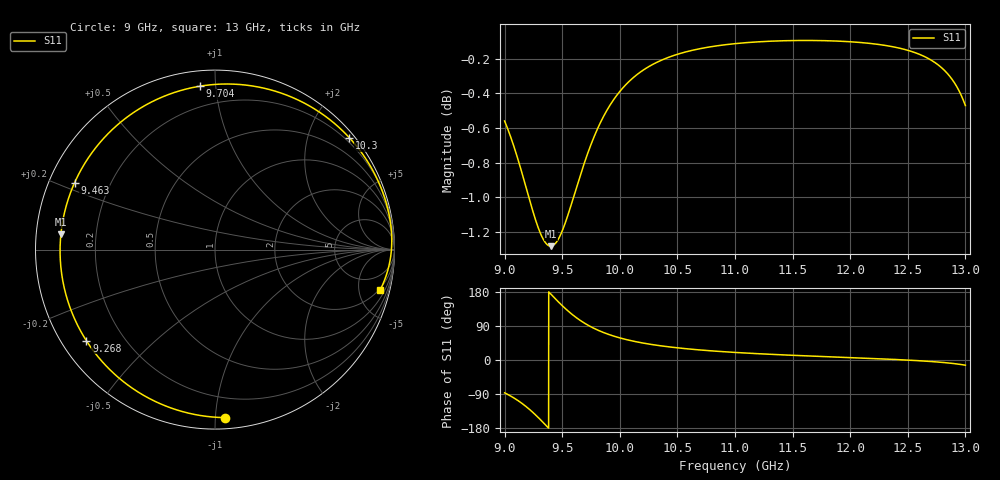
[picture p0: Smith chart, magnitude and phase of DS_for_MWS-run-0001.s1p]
! TOUCHSTONE file generated by CST DESIGN STUDIO
! Date and time: Tue Feb  4 17:59:40 2025
! Project name: C:\Work\MatlabApps\UnitCellOptimizationMatlab\CST\unitcell.cst
! Tree item: Tasks\Sweep1\SPara1\S-Parameters
! Header version: 2024
! Port assignment regex: !\s*Touchstone port\s*([0-9]+)\s*=\s*(CST MWS port|CST DES external port|CST DES block port)\s*(.+)\s* \(\"(.*)\"\)(\s*mode\s*([0-9]+))?.*
! Touchstone port assignment:
! Touchstone port 1 = CST DES external port 1 ("")
# GHz S MA R 50
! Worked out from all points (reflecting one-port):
!   4001 points, 9 GHz to 13 GHz, reference 50 ohm
!   lowest |S11| = -1.3 dB at 9.4 GHz (marker M1), VSWR 13.59, Z = 3.69 + j2.46 ohm
!   phase of S11 starts at -87 deg and turns -287 deg over the sweep
!   S11 on the Smith chart (normalised r, x): 9 GHz: 0.07, -1.06; 9.268 GHz: 0.07, -0.32; 9.463 GHz: 0.08, +0.22; 9.704 GHz: 0.08, +0.91; 10.3 GHz: 0.11, +2.76; 13 GHz: 1.81, -7.91
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9  0.9377 -86.7
9.02  0.9341 -89.7
9.078  0.9225 -99.7
9.145  0.9072 -113.2
9.207  0.8922 -128.0
9.268  0.8782 -144.7
9.337  0.8667 -165.6
9.4  0.8629 174.3
9.463  0.8665 154.5
9.5  0.8717 143.4
9.548  0.8806 130.0
9.597  0.8911 117.7
9.648  0.9024 106.2
9.704  0.9143 95.3
9.774  0.9274 83.8
9.845  0.9386 74.2
9.92  0.9481 65.7
10  0.9562 58.4
10.138  0.9663 48.4
10.302  0.9742 39.7
10.5  0.9801 32.1
10.723  0.9841 25.8
11  0.987 20.0
11.5  0.9891 12.4
12  0.9883 6.3
12.5  0.9827 -0.3
12.786  0.9719 -6.0
13  0.9473 -13.7
